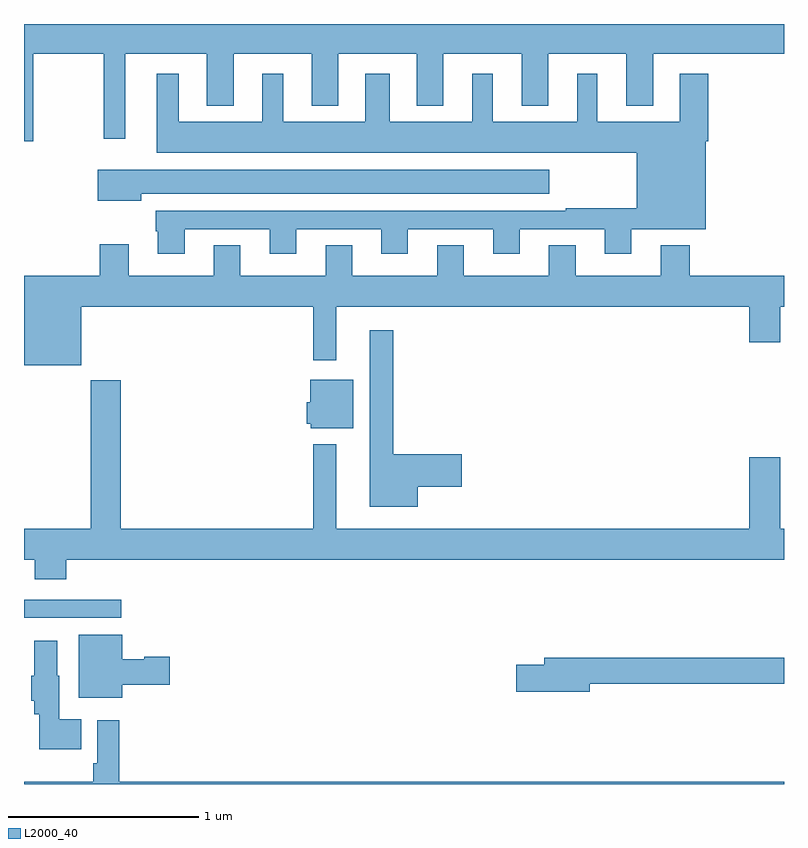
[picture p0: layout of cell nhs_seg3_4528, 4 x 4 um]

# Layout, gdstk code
import gdstk
lib = gdstk.Library(unit=1e-6, precision=1e-09)
def R(c, l, rs):  # rectangles x0, y0, x1, y1
    for r in rs: c.add(gdstk.rectangle(r[:2], r[2:], *l))
def P(c, l, *ps):  # polygons
    for p in ps: c.add(gdstk.Polygon(p, *l))
L2000_40 = (2000, 40)

nhs_seg3_4528 = lib.new_cell('nhs_seg3_4528')
R(nhs_seg3_4528, L2000_40, [(353,703.275,353.512,703.371)])
P(nhs_seg3_4528, L2000_40, [(353.049,706.244),(353.419,706.244),(353.419,705.795),(353.533,705.795),(353.533,706.244),(353.963,706.244),(353.963,705.971),(354.103,705.971),(354.103,706.244),(354.515,706.244),(354.515,705.971),(354.655,705.971),(354.655,706.244),(355.067,706.244),(355.067,705.971),(355.207,705.971),(355.207,706.244),(355.619,706.244),(355.619,705.971),(355.759,705.971),(355.759,706.244),(356.171,706.244),(356.171,705.971),(356.311,705.971),(356.311,706.244),(357,706.244),(357,706.4),(353,706.4),(353,705.783),(353.049,705.783)],
  [(353.845,705.321),(354.293,705.321),(354.293,705.192),(354.433,705.192),(354.433,705.321),(354.881,705.321),(354.881,705.192),(355.021,705.192),(355.021,705.321),(355.469,705.321),(355.469,705.192),(355.609,705.192),(355.609,705.321),(356.057,705.321),(356.057,705.192),(356.197,705.192),(356.197,705.32),(356.587,705.32),(356.587,705.782),(356.6,705.782),(356.6,706.138),(356.45,706.138),(356.45,705.886),(356.017,705.886),(356.017,706.138),(355.913,706.138),(355.913,705.886),(355.468,705.886),(355.468,706.138),(355.358,706.138),(355.358,705.886),(354.925,705.886),(354.925,706.138),(354.797,706.138),(354.797,705.886),(354.364,705.886),(354.364,706.138),(354.254,706.138),(354.254,705.886),(353.815,705.886),(353.815,706.138),(353.699,706.138),(353.699,705.722),(356.225,705.722),(356.225,705.43),(355.852,705.43),(355.852,705.417),(353.693,705.417),(353.693,705.309),(353.705,705.309),(353.705,705.192),(353.845,705.192)],
  [(353.617,705.506),(355.765,705.506),(355.765,705.634),(353.388,705.634),(353.388,705.47),(353.617,705.47)],
  [(353.302,704.912),(354.522,704.912),(354.522,704.631),(354.643,704.631),(354.643,704.912),(356.816,704.912),(356.816,704.724),(356.98,704.724),(356.98,704.912),(357,704.912),(357,705.076),(356.504,705.076),(356.504,705.235),(356.351,705.235),(356.351,705.076),(355.903,705.076),(355.903,705.236),(355.763,705.236),(355.763,705.076),(355.315,705.076),(355.315,705.236),(355.175,705.236),(355.175,705.076),(354.727,705.076),(354.727,705.236),(354.587,705.236),(354.587,705.076),(354.139,705.076),(354.139,705.236),(353.999,705.236),(353.999,705.076),(353.551,705.076),(353.551,705.241),(353.399,705.241),(353.399,705.076),(353,705.076),(353,704.603),(353.302,704.603)],
  [(355.072,703.964),(355.303,703.964),(355.303,704.135),(354.943,704.135),(354.943,704.788),(354.821,704.788),(354.821,703.859),(355.072,703.859)],
  [(354.733,704.527),(354.506,704.527),(354.506,704.409),(354.488,704.409),(354.488,704.295),(354.51,704.295),(354.51,704.273),(354.733,704.273)],
  [(353.222,703.58),(357,703.58),(357,703.744),(356.98,703.744),(356.98,704.119),(356.816,704.119),(356.816,703.744),(354.643,703.744),(354.643,704.188),(354.522,704.188),(354.522,703.744),(353.51,703.744),(353.51,704.524),(353.35,704.524),(353.35,703.744),(353,703.744),(353,703.58),(353.057,703.58),(353.057,703.478),(353.222,703.478)],
  [(353.518,702.923),(353.767,702.923),(353.767,703.07),(353.634,703.07),(353.634,703.057),(353.518,703.057),(353.518,703.186),(353.288,703.186),(353.288,702.854),(353.518,702.854)],
  [(353.3,702.742),(353.185,702.742),(353.185,702.969),(353.176,702.969),(353.176,703.153),(353.054,703.153),(353.054,702.969),(353.039,702.969),(353.039,702.837),(353.054,702.837),(353.054,702.768),(353.081,702.768),(353.081,702.584),(353.3,702.584)],
  [(355.978,702.928),(357,702.928),(357,703.064),(355.739,703.064),(355.739,703.028),(355.59,703.028),(355.59,702.886),(355.978,702.886)],
  [(357,702.412),(353.501,702.412),(353.501,702.736),(353.385,702.736),(353.385,702.508),(353.365,702.508),(353.365,702.412),(353,702.412),(353,702.4),(357,702.4)])

lib.write_gds('nhs_seg3_4528.gds')
